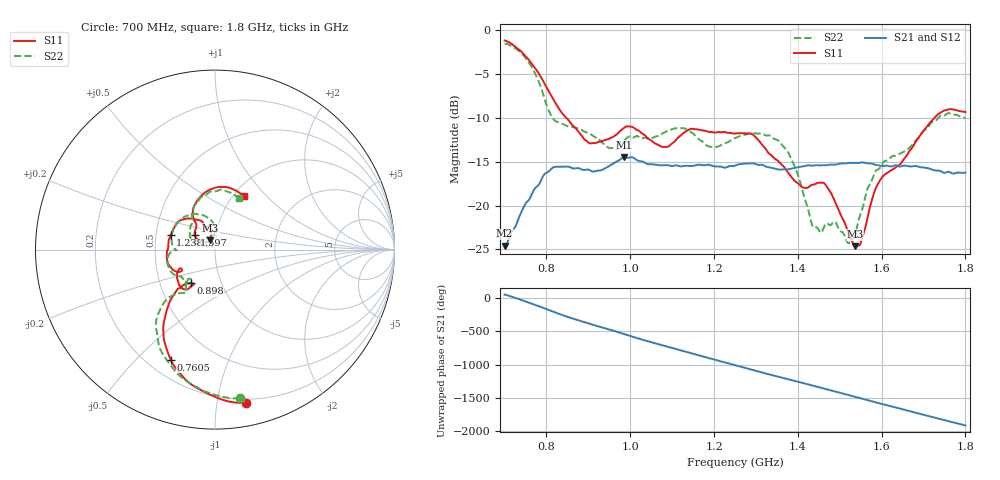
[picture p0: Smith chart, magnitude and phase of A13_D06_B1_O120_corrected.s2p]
! Created with skrf 1.9.0 (http://scikit-rf.org).
# Hz S RI R 50.0
!freq ReS11 ImS11 ReS21 ImS21 ReS12 ImS12 ReS22 ImS22
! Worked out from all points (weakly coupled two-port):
!   1601 points, 700 MHz to 1.8 GHz, reference 50 ohm
!   highest |S21| = -14.48 dB at 986 MHz (marker M1); lowest = -24.6 dB at 700 MHz (marker M2)
!   lowest |S11| = -24.6 dB at 1.537 GHz (marker M3), VSWR 1.12, Z = 47.2 + j5 ohm
!   |S11| at or under -10 dB: 847.5 MHz to 1.726 GHz (878.6 MHz wide, 68.3 % of centre)
!   |S22| runs from -24.3 to -1.5 dB; largest |S21 - S12| = 0.0034
!   S11 on the Smith chart (normalised r, x): 700 MHz: 0.17, -1.21; 760.5 MHz: 0.29, -0.64; 898 MHz: 0.71, -0.28; 1.238 GHz: 0.60, +0.10; 1.597 GHz: 0.79, +0.13; 1.8 GHz: 1.12, +0.76
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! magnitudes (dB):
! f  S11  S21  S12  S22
! 700 MHz  -1.2  -24.6  -24.3  -1.5
! 760.5 MHz  -3.6  -19.2  -19.0  -3.9
! 816.2 MHz  -7.9  -15.6  -15.7  -10.1
! 883.6 MHz  -12.0  -15.9  -15.8  -11.4
! 898 MHz  -12.7  -15.9  -16.0  -11.7
! 951.6 MHz  -12.3  -15.4  -15.4  -13.5
! 986 MHz  -11.1  -14.5  -14.6  -12.6
! 1.067 GHz  -13.1  -15.4  -15.3  -12.1
! 1.145 GHz  -11.3  -15.5  -15.5  -11.7
! 1.238 GHz  -11.7  -15.5  -15.6  -12.6
! 1.25 GHz  -11.8  -15.4  -15.4  -12.3
! 1.357 GHz  -15.2  -15.9  -15.8  -12.8
! 1.395 GHz  -17.3  -15.7  -15.7  -15.8
! 1.434 GHz  -17.6  -15.5  -15.4  -22.2
! 1.469 GHz  -17.9  -15.4  -15.4  -22.0
! 1.521 GHz  -23.2  -15.1  -15.2  -24.3
! 1.537 GHz  -24.6  -15.1  -15.1  -23.3
! 1.567 GHz  -21.2  -15.2  -15.2  -18.0
! 1.597 GHz  -17.0  -15.5  -15.4  -15.6
! 1.617 GHz  -16.2  -15.5  -15.5  -14.8
! 1.736 GHz  -9.6  -16.0  -16.1  -10.0
! 1.8 GHz  -9.3  -16.2  -16.2  -10.0
